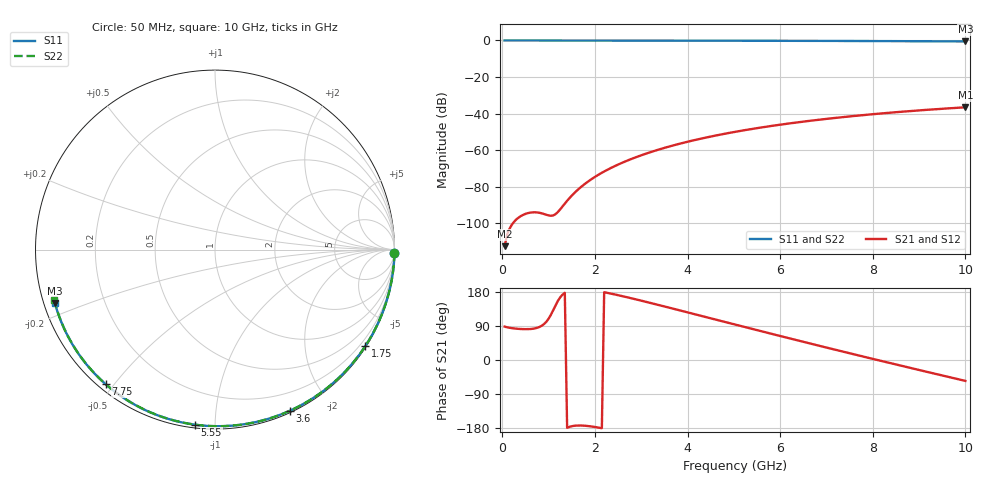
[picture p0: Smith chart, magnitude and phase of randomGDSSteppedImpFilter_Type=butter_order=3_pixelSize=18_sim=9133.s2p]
! freq	dB(S11)	phase(S11)	dB(S12)	phase(S12)
!  dB(S21)	phase(S21)	dB(S22)	phase(S22)
!S-par simulation data
#  GHz  S  DB  R 50
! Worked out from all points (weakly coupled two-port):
!   200 points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, 50 MHz to 10 GHz, reference 50 ohm
!   highest |S21| = -36.54 dB at 10 GHz (marker M1); lowest = -112.4 dB at 50 MHz (marker M2)
!   lowest |S11| = -0.5 dB at 10 GHz (marker M3), VSWR 32.64, Z = 1.57 - j8.12 ohm
!   |S11| at or under -10 dB: nowhere
!   |S22| runs from -0.5 to 0.0 dB; largest |S21 - S12| = 0
!   S11 on the Smith chart (normalised r, x): 50 MHz: open; 1.75 GHz: 0.03, -3.42; 3.6 GHz: 0.02, -1.57; 5.55 GHz: 0.02, -0.89; 7.75 GHz: 0.02, -0.48; 10 GHz: 0.03, -0.16
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0.05  -0.00 -1.0  -112.42 88.1  -112.42 88.1  -0.00 -0.9
0.45  -0.01 -8.5  -95.31 81.5  -95.31 81.5  -0.01 -8.3
0.85  -0.02 -16.0  -94.47 90.2  -94.47 90.2  -0.02 -15.7
1.25  -0.03 -23.4  -92.31 165.3  -92.31 165.3  -0.03 -23.0
1.7  -0.04 -31.7  -80.07 -172.9  -80.07 -172.9  -0.04 -31.1
1.75  -0.04 -32.6  -79.04 -173.2  -79.04 -173.2  -0.04 -32.0
1.9  -0.05 -35.3  -76.24 -175.0  -76.24 -175.0  -0.04 -34.6
2.05  -0.05 -38.0  -73.79 -177.8  -73.79 -177.8  -0.05 -37.3
2.25  -0.05 -41.6  -70.92 177.6  -70.92 177.6  -0.05 -40.8
2.45  -0.06 -45.2  -68.41 172.5  -68.41 172.5  -0.06 -44.3
2.9  -0.07 -53.1  -63.68 159.6  -63.68 159.6  -0.07 -52.1
3.4  -0.08 -61.7  -59.46 144.4  -59.46 144.4  -0.08 -60.6
3.6  -0.09 -65.1  -57.99 138.2  -57.99 138.2  -0.09 -64.0
4.3  -0.11 -76.7  -53.60 116.3  -53.60 116.3  -0.11 -75.5
5.05  -0.14 -88.7  -49.84 92.8  -49.84 92.8  -0.13 -87.5
5.55  -0.16 -96.5  -47.72 77.2  -47.72 77.2  -0.16 -95.3
6.1  -0.19 -104.9  -45.68 60.2  -45.68 60.2  -0.18 -103.8
6.7  -0.22 -113.8  -43.74 41.9  -43.74 41.9  -0.22 -112.9
7.75  -0.30 -129.1  -40.89 10.3  -40.89 10.3  -0.30 -128.5
8.35  -0.35 -137.7  -39.52 -7.4  -39.52 -7.4  -0.35 -137.4
9.2  -0.44 -149.9  -37.85 -32.2  -37.85 -32.2  -0.45 -150.2
10  -0.53 -161.5  -36.54 -55.2  -36.54 -55.2  -0.55 -162.5
